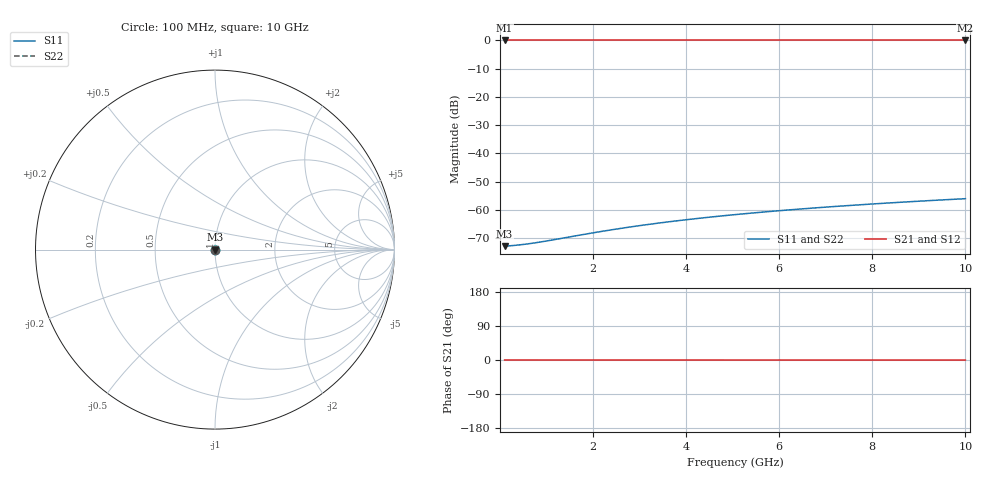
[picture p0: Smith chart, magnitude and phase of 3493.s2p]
# Hz S RI R 50.00
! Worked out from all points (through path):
!   100 points, 100 MHz to 10 GHz, reference 50 ohm
!   highest |S21| = 0.00 dB at 100 MHz (marker M1); lowest = 0.0 dB at 10 GHz (marker M2)
!   lowest |S11| = -72.9 dB at 100 MHz (marker M3), VSWR 1.00, Z = 50 + j0.00155 ohm
!   |S11| at or under -10 dB: start of sweep to end of sweep
!   |S22| runs from -72.9 to -56.1 dB; largest |S21 - S12| = 1e-16
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1e8  0.000226 1.55e-05  0.9998 -2.7e-05  0.9998 -2.7e-05  0.000226 1.55e-05
3e8  0.000228 4.65e-05  0.9998 -8.09e-05  0.9998 -8.09e-05  0.000228 4.65e-05
4e8  0.000229 6.2e-05  0.9998 -0.000108  0.9998 -0.000108  0.000229 6.2e-05
5e8  0.00023 7.75e-05  0.9998 -0.000135  0.9998 -0.000135  0.00023 7.75e-05
7e8  0.000231 0.000108  0.9998 -0.000189  0.9998 -0.000189  0.000231 0.000108
9e8  0.000232 0.000139  0.9998 -0.000243  0.9998 -0.000243  0.000232 0.000139
1.1e9  0.000233 0.00017  0.9998 -0.000297  0.9998 -0.000297  0.000233 0.00017
1.8e9  0.000236 0.000279  0.9998 -0.000486  0.9998 -0.000486  0.000236 0.000279
2.2e9  0.000237 0.000341  0.9998 -0.000593  0.9998 -0.000593  0.000237 0.000341
2.6e9  0.000238 0.000403  0.9998 -0.000701  0.9998 -0.000701  0.000238 0.000403
3e9  0.000239 0.000465  0.9998 -0.000809  0.9998 -0.000809  0.000239 0.000465
3.4e9  0.00024 0.000527  0.9998 -0.000917  0.9998 -0.000917  0.00024 0.000527
3.8e9  0.000241 0.000589  0.9998 -0.00103  0.9998 -0.00103  0.000241 0.000589
4.2e9  0.000241 0.000651  0.9998 -0.00113  0.9998 -0.00113  0.000241 0.000651
4.6e9  0.000242 0.000713  0.9998 -0.00124  0.9998 -0.00124  0.000242 0.000713
5.1e9  0.000243 0.00079  0.9998 -0.00138  0.9998 -0.00138  0.000243 0.00079
5.9e9  0.000245 0.000914  0.9998 -0.00159  0.9998 -0.00159  0.000245 0.000914
6.7e9  0.000246 0.00104  0.9998 -0.00181  0.9998 -0.00181  0.000246 0.00104
7.5e9  0.000248 0.00116  0.9997 -0.00202  0.9997 -0.00202  0.000248 0.00116
8.4e9  0.00025 0.0013  0.9997 -0.00227  0.9997 -0.00227  0.00025 0.0013
9.2e9  0.000252 0.00143  0.9997 -0.00248  0.9997 -0.00248  0.000252 0.00143
1e10  0.000253 0.00155  0.9997 -0.0027  0.9997 -0.0027  0.000253 0.00155
